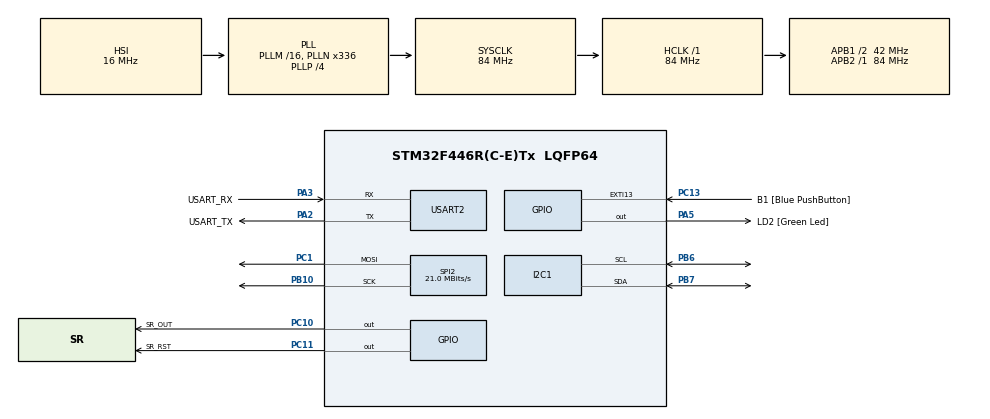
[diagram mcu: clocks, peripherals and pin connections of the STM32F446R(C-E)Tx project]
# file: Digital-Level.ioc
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Mcu.Family=STM32F4
Mcu.Name=STM32F446R(C-E)Tx
Mcu.Package=LQFP64
NVIC.PriorityGroup=NVIC_PRIORITYGROUP_0
NVIC.TIM1_UP_TIM10_IRQn=true\:0\:0\:false\:false\:true\:true\:true\:true
PA13.GPIO_Label=TMS
PA13.Mode=Serial_Wire
PA13.Signal=SYS_JTMS-SWDIO
PA14.GPIO_Label=TCK
PA14.Mode=Serial_Wire
PA14.Signal=SYS_JTCK-SWCLK
PA2.GPIO_Label=USART_TX
PA2.Mode=Asynchronous
PA2.Signal=USART2_TX
PA3.GPIO_Label=USART_RX
PA3.Mode=Asynchronous
PA3.Signal=USART2_RX
PA5.GPIO_Label=LD2 [Green Led]
PA5.Signal=GPIO_Output
PB10.Mode=TX_Only_Simplex_Unidirect_Master
PB10.Signal=SPI2_SCK
PB3.GPIO_Label=SWO
PB3.Signal=SYS_JTDO-SWO
PB6.Mode=I2C
PB6.Signal=I2C1_SCL
PB7.Mode=I2C
PB7.Signal=I2C1_SDA
PC1.Mode=TX_Only_Simplex_Unidirect_Master
PC1.Signal=SPI2_MOSI
PC10.GPIO_Label=SR_OUT
PC10.GPIO_Speed=GPIO_SPEED_FREQ_HIGH
PC10.Signal=GPIO_Output
PC11.GPIO_Label=SR_RST
PC11.GPIO_Speed=GPIO_SPEED_FREQ_MEDIUM
PC11.PinState=GPIO_PIN_SET
PC11.Signal=GPIO_Output
PC13.GPIO_Label=B1 [Blue PushButton]
PC13.GPIO_ModeDefaultEXTI=GPIO_MODE_IT_FALLING
PC13.Signal=GPXTI13
PC14-OSC32_IN.Mode=LSE-External-Oscillator
PC14-OSC32_IN.Signal=RCC_OSC32_IN
PC15-OSC32_OUT.Mode=LSE-External-Oscillator
PC15-OSC32_OUT.Signal=RCC_OSC32_OUT
PH0-OSC_IN.Mode=HSE-External-Oscillator
PH0-OSC_IN.Signal=RCC_OSC_IN
PH1-OSC_OUT.Mode=HSE-External-Oscillator
PH1-OSC_OUT.Signal=RCC_OSC_OUT
ProjectManager.HeapSize=0x200
ProjectManager.StackSize=0x400
ProjectManager.TargetToolchain=CMake
RCC.48MHZClocksFreq_Value=84000000
RCC.AHBFreq_Value=84000000
RCC.APB1CLKDivider=RCC_HCLK_DIV2
RCC.APB1Freq_Value=42000000
RCC.APB1TimFreq_Value=84000000
RCC.APB2Freq_Value=84000000
RCC.APB2TimFreq_Value=84000000
RCC.CortexFreq_Value=84000000
RCC.FLatency-AdvancedSettings=FLASH_LATENCY_2
RCC.HCLKFreq_Value=84000000
RCC.HSE_VALUE=8000000
RCC.HSI_VALUE=16000000
RCC.PLLN=336
RCC.PLLP=RCC_PLLP_DIV4
RCC.SYSCLKFreq_VALUE=84000000
RCC.SYSCLKSource=RCC_SYSCLKSOURCE_PLLCLK
RCC.USBFreq_Value=168000000
RCC.VCOOutputFreq_Value=336000000
SPI2.CalculateBaudRate=21.0 MBits/s
SPI2.Direction=SPI_DIRECTION_2LINES
SPI2.Mode=SPI_MODE_MASTER
SPI2.VirtualType=VM_MASTER
TIM1.Period=63635
TIM1.Prescaler=21
USART2.VirtualMode=VM_ASYNC
VP_TIM1_VS_ClockSourceINT.Mode=Internal
board=NUCLEO-F446RE

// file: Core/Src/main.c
/* USER CODE BEGIN Header */
/**
  ******************************************************************************
  * @file           : main.c
  * @brief          : Main program body
  ******************************************************************************
  * @attention
  *
  * Copyright (c) 2025 STMicroelectronics.
  * All rights reserved.
  *
  * This software is licensed under terms that can be found in the LICENSE file
  * in the root directory of this software component.
  * If no LICENSE file comes with this software, it is provided AS-IS.
  *
  ******************************************************************************
  * Program Overview:
  * This program initializes an STM32 microcontroller to read accelerometer data
  * from an MPU6050 sensor via I2C and transmits processed data over SPI to control
  * an external device. The program uses a timer interrupt to periodically poll
  * data from the MPU6050 and sends specific bit patterns based on the accelerometer
  * readings along the X and Y axies led representations at 60hz.
  */
/* USER CODE END Header */
#include "main.h"
#include "stm32f446xx.h"

/* USER CODE BEGIN Includes */
#include <mpu6050.h>
#include <stdint.h>
/* USER CODE END Includes */

I2C_HandleTypeDef hi2c1;

SPI_HandleTypeDef hspi2;

TIM_HandleTypeDef htim1;

UART_HandleTypeDef huart2;

/* USER CODE BEGIN PV */
volatile uint8_t read_mpu = 0;
/* USER CODE END PV */

void SystemClock_Config(void);
static void MX_GPIO_Init(void);
static void MX_USART2_UART_Init(void);
static void MX_I2C1_Init(void);
static void MX_SPI2_Init(void);
static void MX_TIM1_Init(void);

int main(void)
{

  /* MCU Configuration--------------------------------------------------------*/

  /* Reset of all peripherals, Initializes the Flash interface and the Systick. */
  HAL_Init();

  /* Configure the system clock */
  SystemClock_Config();

  /* Initialize all configured peripherals */
  MX_GPIO_Init();
  MX_USART2_UART_Init();
  MX_I2C1_Init();
  MX_SPI2_Init();
  MX_TIM1_Init();
  /* USER CODE BEGIN 2 */
  HAL_Delay(500);
  HAL_GPIO_WritePin(SR_RST_GPIO_Port, SR_RST_Pin, GPIO_PIN_RESET);
  HAL_GPIO_WritePin(SR_RST_GPIO_Port, SR_RST_Pin, GPIO_PIN_SET);

  mpu_init(&hi2c1, 2);

  HAL_TIM_Base_Start_IT(&htim1);
  float x = 0;
  float z = 0;
  float y = 0;
  float prev_x = 0;
  float prev_y = 0;
  float prev_z = 0;
  uint8_t lights = 0;

  x = mpu_get_accel_x(&hi2c1);
  y = mpu_get_accel_y(&hi2c1);
  z = mpu_get_accel_z(&hi2c1);
  /* USER CODE END 2 */

  /* Infinite loop */
  while (1)
  {

    /* USER CODE BEGIN 3 */
    if (read_mpu == 1)
    {
      read_mpu = 0;
      lights = 0b00000000;
      prev_x = x;
      prev_y = y;
      prev_z = z;
      x = prev_x + (mpu_get_accel_x(&hi2c1) - prev_x) * 0.2;
      y = prev_y + (mpu_get_accel_y(&hi2c1) - prev_y) * 0.2;
      z = prev_z + (mpu_get_accel_z(&hi2c1) - prev_z) * 0.2;
      // i represents the x and y axis states
      // 0bX000X000
      // i[7-5] = y axis
      // i[3-1] = x axis
      // i
      if (x > .07)
      {
        lights |= 0b00000001;
      }
      else if (x <= .07 && x >= -.07)
      {
        lights |= 0b00000010;
      }
      else if (x < -.07)
      {
        lights|= 0b00000100;
      }

      if (y > .07)
      {
        lights |= 0b00010000;
      }
      else if (y <= .07 && y >= -.07)
      {
        lights |= 0b00100000;
      }
      else if (y < -.07)
      {
        lights |= 0b01000000;
      }

      HAL_SPI_Transmit(&hspi2, &lights, 1, 10);
      HAL_GPIO_WritePin(SR_OUT_GPIO_Port, SR_OUT_Pin, GPIO_PIN_SET);
      HAL_GPIO_WritePin(SR_OUT_GPIO_Port, SR_OUT_Pin, GPIO_PIN_RESET);
    }
  }
  /* USER CODE END 3 */
}

void SystemClock_Config(void)
{
  RCC_OscInitTypeDef RCC_OscInitStruct = {0};
  RCC_ClkInitTypeDef RCC_ClkInitStruct = {0};

  /** Configure the main internal regulator output voltage
  */
  __HAL_RCC_PWR_CLK_ENABLE();
  __HAL_PWR_VOLTAGESCALING_CONFIG(PWR_REGULATOR_VOLTAGE_SCALE3);

  /** Initializes the RCC Oscillators according to the specified parameters
  * in the RCC_OscInitTypeDef structure.
  */
  RCC_OscInitStruct.OscillatorType = RCC_OSCILLATORTYPE_HSI;
  RCC_OscInitStruct.HSIState = RCC_HSI_ON;
  RCC_OscInitStruct.HSICalibrationValue = RCC_HSICALIBRATION_DEFAULT;
  RCC_OscInitStruct.PLL.PLLState = RCC_PLL_ON;
  RCC_OscInitStruct.PLL.PLLSource = RCC_PLLSOURCE_HSI;
  RCC_OscInitStruct.PLL.PLLM = 16;
  RCC_OscInitStruct.PLL.PLLN = 336;
  RCC_OscInitStruct.PLL.PLLP = RCC_PLLP_DIV4;
  RCC_OscInitStruct.PLL.PLLQ = 2;
  RCC_OscInitStruct.PLL.PLLR = 2;
  if (HAL_RCC_OscConfig(&RCC_OscInitStruct) != HAL_OK)
  {
    Error_Handler();
  }

  /** Initializes the CPU, AHB and APB buses clocks
  */
  RCC_ClkInitStruct.ClockType = RCC_CLOCKTYPE_HCLK|RCC_CLOCKTYPE_SYSCLK
                              |RCC_CLOCKTYPE_PCLK1|RCC_CLOCKTYPE_PCLK2;
  RCC_ClkInitStruct.SYSCLKSource = RCC_SYSCLKSOURCE_PLLCLK;
  RCC_ClkInitStruct.AHBCLKDivider = RCC_SYSCLK_DIV1;
  RCC_ClkInitStruct.APB1CLKDivider = RCC_HCLK_DIV2;
  RCC_ClkInitStruct.APB2CLKDivider = RCC_HCLK_DIV1;

  if (HAL_RCC_ClockConfig(&RCC_ClkInitStruct, FLASH_LATENCY_2) != HAL_OK)
  {
    Error_Handler();
  }
}

static void MX_I2C1_Init(void)
{

  hi2c1.Instance = I2C1;
  hi2c1.Init.ClockSpeed = 100000;
  hi2c1.Init.DutyCycle = I2C_DUTYCYCLE_2;
  hi2c1.Init.OwnAddress1 = 0;
  hi2c1.Init.AddressingMode = I2C_ADDRESSINGMODE_7BIT;
  hi2c1.Init.DualAddressMode = I2C_DUALADDRESS_DISABLE;
  hi2c1.Init.OwnAddress2 = 0;
  hi2c1.Init.GeneralCallMode = I2C_GENERALCALL_DISABLE;
  hi2c1.Init.NoStretchMode = I2C_NOSTRETCH_DISABLE;
  if (HAL_I2C_Init(&hi2c1) != HAL_OK)
  {
    Error_Handler();
  }

}

static void MX_SPI2_Init(void)
{

  /* SPI2 parameter configuration*/
  hspi2.Instance = SPI2;
  hspi2.Init.Mode = SPI_MODE_MASTER;
  hspi2.Init.Direction = SPI_DIRECTION_2LINES;
  hspi2.Init.DataSize = SPI_DATASIZE_8BIT;
  hspi2.Init.CLKPolarity = SPI_POLARITY_LOW;
  hspi2.Init.CLKPhase = SPI_PHASE_1EDGE;
  hspi2.Init.NSS = SPI_NSS_SOFT;
  hspi2.Init.BaudRatePrescaler = SPI_BAUDRATEPRESCALER_2;
  hspi2.Init.FirstBit = SPI_FIRSTBIT_MSB;
  hspi2.Init.TIMode = SPI_TIMODE_DISABLE;
  hspi2.Init.CRCCalculation = SPI_CRCCALCULATION_DISABLE;
  hspi2.Init.CRCPolynomial = 10;
  if (HAL_SPI_Init(&hspi2) != HAL_OK)
  {
    Error_Handler();
  }

}

static void MX_TIM1_Init(void)
{

  TIM_ClockConfigTypeDef sClockSourceConfig = {0};
  TIM_MasterConfigTypeDef sMasterConfig = {0};

  htim1.Instance = TIM1;
  htim1.Init.Prescaler = 21;
  htim1.Init.CounterMode = TIM_COUNTERMODE_UP;
  htim1.Init.Period = 63635;
  htim1.Init.ClockDivision = TIM_CLOCKDIVISION_DIV1;
  htim1.Init.RepetitionCounter = 0;
  htim1.Init.AutoReloadPreload = TIM_AUTORELOAD_PRELOAD_DISABLE;
  if (HAL_TIM_Base_Init(&htim1) != HAL_OK)
  {
    Error_Handler();
  }
  sClockSourceConfig.ClockSource = TIM_CLOCKSOURCE_INTERNAL;
  if (HAL_TIM_ConfigClockSource(&htim1, &sClockSourceConfig) != HAL_OK)
  {
    Error_Handler();
  }
  sMasterConfig.MasterOutputTrigger = TIM_TRGO_RESET;
  sMasterConfig.MasterSlaveMode = TIM_MASTERSLAVEMODE_DISABLE;
  if (HAL_TIMEx_MasterConfigSynchronization(&htim1, &sMasterConfig) != HAL_OK)
  {
    Error_Handler();
  }

}

static void MX_USART2_UART_Init(void)
{

  huart2.Instance = USART2;
  huart2.Init.BaudRate = 115200;
  huart2.Init.WordLength = UART_WORDLENGTH_8B;
  huart2.Init.StopBits = UART_STOPBITS_1;
  huart2.Init.Parity = UART_PARITY_NONE;
  huart2.Init.Mode = UART_MODE_TX_RX;
  huart2.Init.HwFlowCtl = UART_HWCONTROL_NONE;
  huart2.Init.OverSampling = UART_OVERSAMPLING_16;
  if (HAL_UART_Init(&huart2) != HAL_OK)
  {
    Error_Handler();
  }

}

static void MX_GPIO_Init(void)
{
  GPIO_InitTypeDef GPIO_InitStruct = {0};

  /* GPIO Ports Clock Enable */
  __HAL_RCC_GPIOC_CLK_ENABLE();
  __HAL_RCC_GPIOH_CLK_ENABLE();
  __HAL_RCC_GPIOA_CLK_ENABLE();
  __HAL_RCC_GPIOB_CLK_ENABLE();

  /*Configure GPIO pin Output Level */
  HAL_GPIO_WritePin(LD2_GPIO_Port, LD2_Pin, GPIO_PIN_RESET);

  /*Configure GPIO pin Output Level */
  HAL_GPIO_WritePin(SR_OUT_GPIO_Port, SR_OUT_Pin, GPIO_PIN_RESET);

  /*Configure GPIO pin Output Level */
  HAL_GPIO_WritePin(SR_RST_GPIO_Port, SR_RST_Pin, GPIO_PIN_SET);

  /*Configure GPIO pin : B1_Pin */
  GPIO_InitStruct.Pin = B1_Pin;
  GPIO_InitStruct.Mode = GPIO_MODE_IT_FALLING;
  GPIO_InitStruct.Pull = GPIO_NOPULL;
  HAL_GPIO_Init(B1_GPIO_Port, &GPIO_InitStruct);

  /*Configure GPIO pin : LD2_Pin */
  GPIO_InitStruct.Pin = LD2_Pin;
  GPIO_InitStruct.Mode = GPIO_MODE_OUTPUT_PP;
  GPIO_InitStruct.Pull = GPIO_NOPULL;
  GPIO_InitStruct.Speed = GPIO_SPEED_FREQ_LOW;
  HAL_GPIO_Init(LD2_GPIO_Port, &GPIO_InitStruct);

  /*Configure GPIO pin : SR_OUT_Pin */
  GPIO_InitStruct.Pin = SR_OUT_Pin;
  GPIO_InitStruct.Mode = GPIO_MODE_OUTPUT_PP;
  GPIO_InitStruct.Pull = GPIO_NOPULL;
  GPIO_InitStruct.Speed = GPIO_SPEED_FREQ_HIGH;
  HAL_GPIO_Init(SR_OUT_GPIO_Port, &GPIO_InitStruct);

  /*Configure GPIO pin : SR_RST_Pin */
  GPIO_InitStruct.Pin = SR_RST_Pin;
  GPIO_InitStruct.Mode = GPIO_MODE_OUTPUT_PP;
  GPIO_InitStruct.Pull = GPIO_NOPULL;
  GPIO_InitStruct.Speed = GPIO_SPEED_FREQ_MEDIUM;
  HAL_GPIO_Init(SR_RST_GPIO_Port, &GPIO_InitStruct);

}

/* USER CODE BEGIN 4 */
int _write(int file, char *ptr, int len)
{
  (void)file;
  int DataIdx;

  for (DataIdx = 0; DataIdx < len; DataIdx++)
  {
    // __io_putchar(*ptr++);
	  ITM_SendChar(*ptr++);
  }
  return len;
}

void HAL_TIM_PeriodElapsedCallback(TIM_HandleTypeDef *htim)
{
  if (htim->Instance == TIM1)
  {
    read_mpu = 1;
  }
}
/* USER CODE END 4 */

void Error_Handler(void)
{
  __disable_irq();
  while (1)
  {
  }
}
